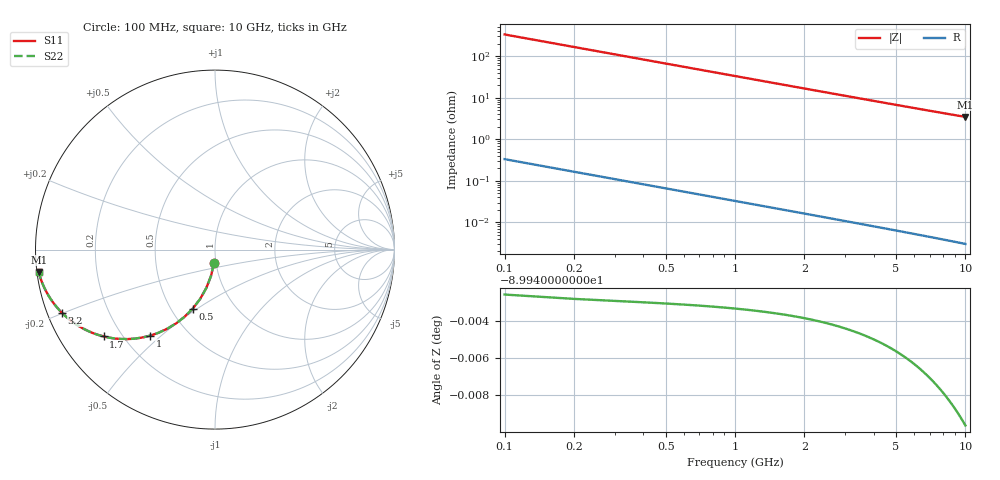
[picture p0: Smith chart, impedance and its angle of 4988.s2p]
# Hz S RI R 50.00
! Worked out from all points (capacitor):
!   100 points, 100 MHz to 10 GHz, reference 50 ohm
!   read as one part in shunt: C = 4.79 pF near 100 MHz
!   lowest |Z| = 3.46 ohm at 10 GHz (marker M1)
!   S11 on the Smith chart (normalised r, x): 100 MHz: 0.98, -0.15; 500 MHz: 0.64, -0.48; 1 GHz: 0.31, -0.46; 1.7 GHz: 0.13, -0.34; 3.2 GHz: 0.04, -0.20; 10 GHz: 0.00, -0.06
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1e8  -0.0057 -0.0748  0.9943 -0.0749  0.9943 -0.0749  -0.0057 -0.0748
2e8  -0.0223 -0.1471  0.9777 -0.1473  0.9777 -0.1473  -0.0223 -0.1471
3e8  -0.0487 -0.2147  0.9512 -0.215  0.9512 -0.215  -0.0487 -0.2147
4e8  -0.0834 -0.2758  0.9166 -0.2762  0.9166 -0.2762  -0.0834 -0.2758
5e8  -0.1243 -0.3292  0.8756 -0.3298  0.8756 -0.3298  -0.1243 -0.3292
6e8  -0.1697 -0.3745  0.8303 -0.3752  0.8303 -0.3752  -0.1697 -0.3745
7e8  -0.2175 -0.4117  0.7825 -0.4124  0.7825 -0.4124  -0.2175 -0.4117
8e8  -0.2663 -0.4411  0.7337 -0.4419  0.7337 -0.4419  -0.2663 -0.4411
1e9  -0.3616 -0.4794  0.6383 -0.4805  0.6383 -0.4805  -0.3616 -0.4794
1.3e9  -0.4888 -0.4987  0.5112 -0.5001  0.5112 -0.5001  -0.4888 -0.4987
1.7e9  -0.6202 -0.4839  0.3798 -0.4857  0.3798 -0.4857  -0.6202 -0.4839
1.8e9  -0.6466 -0.4765  0.3533 -0.4785  0.3533 -0.4785  -0.6466 -0.4765
2.1e9  -0.7133 -0.4506  0.2867 -0.4528  0.2867 -0.4528  -0.7133 -0.4506
2.4e9  -0.7645 -0.4225  0.2354 -0.4251  0.2354 -0.4251  -0.7645 -0.4225
2.8e9  -0.8153 -0.3861  0.1847 -0.3891  0.1847 -0.3891  -0.8153 -0.3861
3.2e9  -0.852 -0.3528  0.1479 -0.3563  0.1479 -0.3563  -0.852 -0.3528
3.4e9  -0.8666 -0.3376  0.1334 -0.3413  0.1334 -0.3413  -0.8666 -0.3376
4.2e9  -0.9082 -0.2859  0.0917 -0.2904  0.0917 -0.2904  -0.9082 -0.2859
5.1e9  -0.9358 -0.2418  0.0642 -0.2474  0.0642 -0.2474  -0.9358 -0.2418
6.7e9  -0.9617 -0.1876  0.0382 -0.195  0.0382 -0.195  -0.9617 -0.1876
8.4e9  -0.9753 -0.1499  0.0246 -0.1591  0.0246 -0.1591  -0.9753 -0.1499
1e10  -0.9825 -0.1248  0.0174 -0.136  0.0174 -0.136  -0.9825 -0.1248
